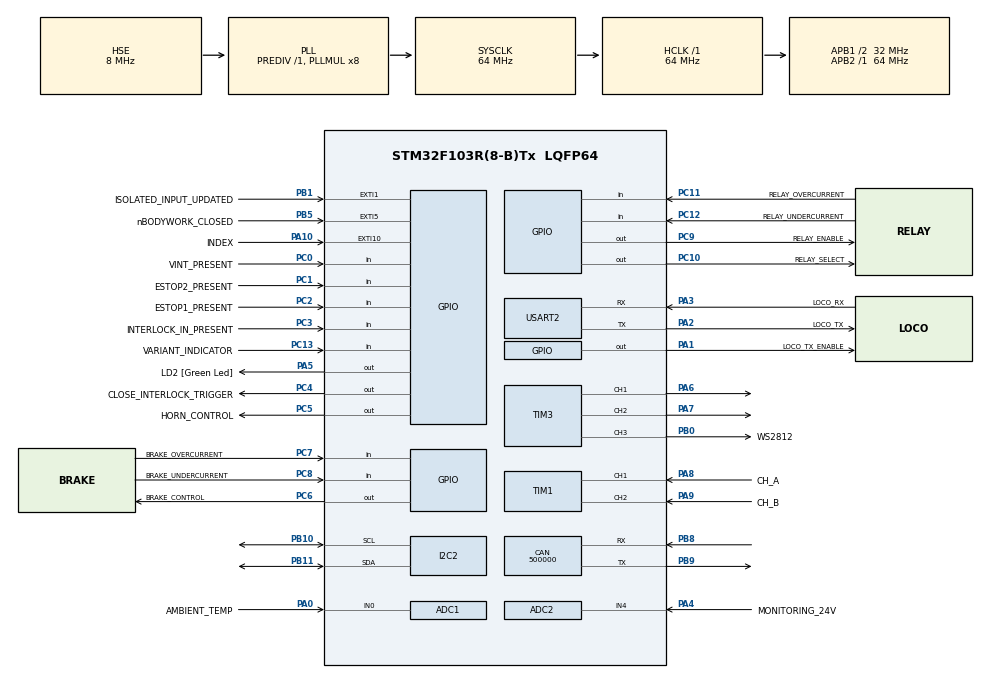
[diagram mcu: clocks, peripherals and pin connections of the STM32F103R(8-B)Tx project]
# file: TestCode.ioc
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ADC1.Channel-4\#ChannelRegularConversion=ADC_CHANNEL_0
ADC1.NbrOfConversionFlag=1
ADC1.Rank-4\#ChannelRegularConversion=1
ADC1.SamplingTime-4\#ChannelRegularConversion=ADC_SAMPLETIME_1CYCLE_5
ADC1.master=1
ADC2.Channel-1\#ChannelRegularConversion=ADC_CHANNEL_4
ADC2.NbrOfConversionFlag=1
ADC2.Rank-1\#ChannelRegularConversion=1
ADC2.SamplingTime-1\#ChannelRegularConversion=ADC_SAMPLETIME_1CYCLE_5
CAN.BS1=CAN_BS1_2TQ
CAN.CalculateBaudRate=500000
CAN.CalculateTimeBit=2000
CAN.CalculateTimeQuantum=500.0
CAN.Mode=CAN_MODE_LOOPBACK
Mcu.Family=STM32F1
Mcu.Name=STM32F103R(8-B)Tx
Mcu.Package=LQFP64
NVIC.CAN1_RX1_IRQn=true\:0\:0\:false\:false\:true\:true\:true\:true
NVIC.EXTI15_10_IRQn=true\:0\:0\:false\:false\:true\:true\:true\:true
NVIC.EXTI1_IRQn=true\:0\:0\:false\:false\:true\:true\:true\:true
NVIC.EXTI9_5_IRQn=true\:0\:0\:false\:false\:true\:true\:true\:true
NVIC.PriorityGroup=NVIC_PRIORITYGROUP_4
NVIC.TIM1_CC_IRQn=true\:0\:0\:false\:false\:true\:true\:true\:true
NVIC.USART2_IRQn=true\:0\:0\:false\:false\:true\:true\:true\:true
NVIC.USB_LP_CAN1_RX0_IRQn=true\:0\:0\:false\:false\:true\:true\:true\:true
PA0-WKUP.GPIO_Label=AMBIENT_TEMP
PA0-WKUP.Signal=ADCx_IN0
PA1.GPIO_Label=LOCO_TX_ENABLE
PA1.Signal=GPIO_Output
PA10.GPIO_Label=INDEX
PA10.Signal=GPXTI10
PA13.GPIO_Label=TMS
PA13.Mode=Serial_Wire
PA13.Signal=SYS_JTMS-SWDIO
PA14.GPIO_Label=TCK
PA14.Mode=Serial_Wire
PA14.Signal=SYS_JTCK-SWCLK
PA2.GPIO_Label=LOCO_TX
PA2.GPIO_Mode=GPIO_MODE_AF_PP
PA2.GPIO_PuPd=GPIO_NOPULL
PA2.GPIO_Speed=GPIO_SPEED_FREQ_LOW
PA2.Mode=Asynchronous
PA2.Signal=USART2_TX
PA3.GPIO_Label=LOCO_RX
PA3.GPIO_Mode=GPIO_MODE_AF_PP
PA3.GPIO_PuPd=GPIO_NOPULL
PA3.GPIO_Speed=GPIO_SPEED_FREQ_LOW
PA3.Mode=Asynchronous
PA3.Signal=USART2_RX
PA4.GPIO_Label=MONITORING_24V
PA4.Signal=ADCx_IN4
PA5.GPIO_Label=LD2 [Green Led]
PA5.GPIO_ModeDefaultOutputPP=GPIO_MODE_OUTPUT_PP
PA5.GPIO_PuPd=GPIO_NOPULL
PA5.GPIO_Speed=GPIO_SPEED_FREQ_LOW
PA5.Signal=GPIO_Output
PA6.Signal=S_TIM3_CH1
PA7.Signal=S_TIM3_CH2
PA8.GPIO_Label=CH_A
PA8.Signal=S_TIM1_CH1
PA9.GPIO_Label=CH_B
PA9.Signal=S_TIM1_CH2
PB0.GPIO_Label=WS2812
PB0.Signal=S_TIM3_CH3
PB1.GPIO_Label=ISOLATED_INPUT_UPDATED
PB1.Signal=GPXTI1
PB10.Mode=I2C
PB10.Signal=I2C2_SCL
PB11.Mode=I2C
PB11.Signal=I2C2_SDA
PB3.Signal=SYS_JTDO-TRACESWO
PB5.GPIO_Label=nBODYWORK_CLOSED
PB5.Signal=GPXTI5
PB8.Mode=CAN_Activate
PB8.Signal=CAN_RX
PB9.Mode=CAN_Activate
PB9.Signal=CAN_TX
PC0.GPIO_Label=VINT_PRESENT
PC0.Signal=GPIO_Input
PC1.GPIO_Label=ESTOP2_PRESENT
PC1.Signal=GPIO_Input
PC10.GPIO_Label=RELAY_SELECT
PC10.Signal=GPIO_Output
PC11.GPIO_Label=RELAY_OVERCURRENT
PC11.Signal=GPIO_Input
PC12.GPIO_Label=RELAY_UNDERCURRENT
PC12.Signal=GPIO_Input
PC13-TAMPER-RTC.GPIO_Label=VARIANT_INDICATOR
PC13-TAMPER-RTC.Signal=GPIO_Input
PC14-OSC32_IN.Signal=RCC_OSC32_IN
PC15-OSC32_OUT.Signal=RCC_OSC32_OUT
PC2.GPIO_Label=ESTOP1_PRESENT
PC2.Signal=GPIO_Input
PC3.GPIO_Label=INTERLOCK_IN_PRESENT
PC3.Signal=GPIO_Input
PC4.GPIO_Label=CLOSE_INTERLOCK_TRIGGER
PC4.Signal=GPIO_Output
PC5.GPIO_Label=HORN_CONTROL
PC5.Signal=GPIO_Output
PC6.GPIO_Label=BRAKE_CONTROL
PC6.Signal=GPIO_Output
PC7.GPIO_Label=BRAKE_OVERCURRENT
PC7.Signal=GPIO_Input
PC8.GPIO_Label=BRAKE_UNDERCURRENT
PC8.Signal=GPIO_Input
PC9.GPIO_Label=RELAY_ENABLE
PC9.Signal=GPIO_Output
PD0-OSC_IN.Mode=HSE-External-Oscillator
PD0-OSC_IN.Signal=RCC_OSC_IN
PD1-OSC_OUT.Mode=HSE-External-Oscillator
PD1-OSC_OUT.Signal=RCC_OSC_OUT
ProjectManager.HeapSize=0x200
ProjectManager.StackSize=0x400
ProjectManager.TargetToolchain=STM32CubeIDE
RCC.ADCPresc=RCC_ADCPCLK2_DIV6
RCC.AHBFreq_Value=64000000
RCC.APB1CLKDivider=RCC_HCLK_DIV2
RCC.APB1Freq_Value=32000000
RCC.APB1TimFreq_Value=64000000
RCC.APB2Freq_Value=64000000
RCC.APB2TimFreq_Value=64000000
RCC.HCLKFreq_Value=64000000
RCC.PLLMUL=RCC_PLL_MUL8
RCC.PLLSourceVirtual=RCC_PLLSOURCE_HSE
RCC.RTCClockSelection=RCC_RTCCLKSOURCE_LSE
RCC.SYSCLKFreq_VALUE=64000000
RCC.SYSCLKSource=RCC_SYSCLKSOURCE_PLLCLK
RCC.USBFreq_Value=64000000
SH.ADCx_IN0.0=ADC1_IN0,IN0
SH.ADCx_IN4.0=ADC1_IN4
SH.ADCx_IN4.1=ADC2_IN4,IN4
SH.S_TIM1_CH1.0=TIM1_CH1,Encoder_Interface
SH.S_TIM1_CH2.0=TIM1_CH2,Encoder_Interface
SH.S_TIM3_CH1.0=TIM3_CH1,PWM Generation1 CH1
SH.S_TIM3_CH2.0=TIM3_CH2,PWM Generation2 CH2
SH.S_TIM3_CH3.0=TIM3_CH3,PWM Generation3 CH3
TIM3.Channel-PWM\ Generation1\ CH1=TIM_CHANNEL_1
TIM3.Channel-PWM\ Generation2\ CH2=TIM_CHANNEL_2
TIM3.Channel-PWM\ Generation3\ CH3=TIM_CHANNEL_3
USART2.VirtualMode=VM_ASYNC
board=NUCLEO-F103RB

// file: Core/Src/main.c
/* USER CODE BEGIN Header */
/**
  ******************************************************************************
  * @file           : main.c
  * @brief          : Main program body
  ******************************************************************************
  * @attention
  *
  * <h2><center>&copy; Copyright (c) 2022 STMicroelectronics.
  * All rights reserved.</center></h2>
  *
  * This software component is licensed by ST under BSD 3-Clause license,
  * the "License"; You may not use this file except in compliance with the
  * License. You may obtain a copy of the License at:
  *                        opensource.org/licenses/BSD-3-Clause
  *
  ******************************************************************************
  */
/* USER CODE END Header */
#include "main.h"

/* USER CODE BEGIN Includes */

#include "mainboard.hpp"

/* USER CODE END Includes */

 ADC_HandleTypeDef hadc1;
ADC_HandleTypeDef hadc2;

CAN_HandleTypeDef hcan;

I2C_HandleTypeDef hi2c2;

TIM_HandleTypeDef htim1;
TIM_HandleTypeDef htim3;

UART_HandleTypeDef huart2;

void SystemClock_Config(void);
static void MX_GPIO_Init(void);
static void MX_USART2_UART_Init(void);
static void MX_CAN_Init(void);
static void MX_ADC1_Init(void);
static void MX_TIM1_Init(void);
static void MX_TIM3_Init(void);
static void MX_I2C2_Init(void);
static void MX_ADC2_Init(void);

/* USER CODE BEGIN 0 */

///////////////////////////////////////////////////////////////////////// CAN stuff
CAN_TxHeaderTypeDef TxHeader;
CAN_RxHeaderTypeDef RxHeader;
uint8_t TxData[8];
uint8_t RxData[8];
uint32_t TxMailbox;

int datacheck = 1;
int j = 0;

/*
void HAL_CAN_RxFifo1MsgPendingCallback(CAN_HandleTypeDef *hcan)
{
	HAL_CAN_GetRxMessage(hcan, CAN_RX_FIFO1, &RxHeader, RxData);
	if (RxHeader.DLC == 8)
	{
		datacheck = 1;
	}
}*/
/////////////////////////////////////////////////////////////////////////

///////////////////////////////////////////////////////////////////////// Encoder Position
uint16_t revolutions = 0;

uint32_t counter = 0;
int16_t count = 0;

int16_t position; // used in UserCode0 of stm32f1xx_it.c
float speed = 0;
float rpm = 0;

void HAL_TIM_IC_CaptureCallback(TIM_HandleTypeDef *htim)
{
	counter = __HAL_TIM_GET_COUNTER(htim);
	count = (int16_t)counter;
	position = count;
}

void HAL_GPIO_EXTI_Callback(uint16_t GPIO_PIN)
{
	if(GPIO_PIN == INDEX_Pin)
	{
		revolutions++;
	}
}

/////////////////////////////////////////////////////////////////////////

/* USER CODE END 0 */

int main(void)
{

  /* MCU Configuration--------------------------------------------------------*/

  /* Reset of all peripherals, Initializes the Flash interface and the Systick. */
+  HAL_Init();

  /* Configure the system clock */
  SystemClock_Config();

  /* Initialize all configured peripherals */
  MX_GPIO_Init();
  MX_USART2_UART_Init();
  MX_CAN_Init();
  MX_ADC1_Init();
  MX_TIM1_Init();
  MX_TIM3_Init();
  MX_I2C2_Init();
  MX_ADC2_Init();
  /* USER CODE BEGIN 2 */

  // Activate the encoder
  HAL_TIM_Encoder_Start_IT(&htim1, TIM_CHANNEL_ALL);

  init_modules(&huart2); // Start receiving
  //mainboard();

  /* USER CODE END 2 */

  /* Infinite loop */
  while (1)
  {

    /* USER CODE BEGIN 3 */

	  HAL_Delay(100);

	  // Testing <<<<<<<<<<<<<<<<<<<<<<<<<<<<<<<<<<<<<<<<<<<<<<<<<<<<<<<<<<<<<<<<<<<<<<<<<<<<<<<<<<<<<<<<<<<<<<<<<<<<<<<<<<<<<<<<<<<<<<<<<<<<<<<<<<<<<<<<<<<<<<
//	  uint8_t Test[] = "Error. Entered Main.c while(1) line 190\r\n"; //Data to send
//	  HAL_UART_Transmit(&huart2,Test,sizeof(Test),10);// Sending in normal mode
	  HAL_Delay(10);

	TxHeader.DLC = 8;  // data length
	TxHeader.IDE = CAN_ID_STD;
	TxHeader.RTR = CAN_RTR_DATA;
	TxHeader.StdId = 0x103;  // ID

	TxData[0] = 23;  // ms delay
	TxData[1] = 24;  // loop rep
	TxData[2] = 25;  // ms delay
	TxData[3] = 26;  // loop rep
	TxData[4] = 27;  // ms delay
	TxData[5] = 28;  // loop rep
	TxData[6] = 29;  // ms delay
	TxData[7] = 30;  // loop rep

	HAL_CAN_AddTxMessage(&hcan, &TxHeader, TxData, &TxMailbox);
	  //<<<<<<<<<<<<<<<<<<<<<<<<<<<<<<<<<<<<<<<<<<<<<<<<<<<<<<<<<<<<<<<<<<<<<<<<<<<<<<<<<<<<<<<<<<<<<<<<<<<<<<<<<<<<<<<<<<<<<<<<<<<<<<<<<<<<<<<<<<<<<<<<<<<<<<<

  }
  /* USER CODE END 3 */
}

void SystemClock_Config(void)
{
  RCC_OscInitTypeDef RCC_OscInitStruct = {0};
  RCC_ClkInitTypeDef RCC_ClkInitStruct = {0};
  RCC_PeriphCLKInitTypeDef PeriphClkInit = {0};

  /** Initializes the RCC Oscillators according to the specified parameters
  * in the RCC_OscInitTypeDef structure.
  */
  RCC_OscInitStruct.OscillatorType = RCC_OSCILLATORTYPE_HSE;
  RCC_OscInitStruct.HSEState = RCC_HSE_ON;
  RCC_OscInitStruct.HSEPredivValue = RCC_HSE_PREDIV_DIV1;
  RCC_OscInitStruct.HSIState = RCC_HSI_ON;
  RCC_OscInitStruct.PLL.PLLState = RCC_PLL_ON;
  RCC_OscInitStruct.PLL.PLLSource = RCC_PLLSOURCE_HSE;
  RCC_OscInitStruct.PLL.PLLMUL = RCC_PLL_MUL8;
  if (HAL_RCC_OscConfig(&RCC_OscInitStruct) != HAL_OK)
  {
    Error_Handler();
  }

  /** Initializes the CPU, AHB and APB buses clocks
  */
  RCC_ClkInitStruct.ClockType = RCC_CLOCKTYPE_HCLK|RCC_CLOCKTYPE_SYSCLK
                              |RCC_CLOCKTYPE_PCLK1|RCC_CLOCKTYPE_PCLK2;
  RCC_ClkInitStruct.SYSCLKSource = RCC_SYSCLKSOURCE_PLLCLK;
  RCC_ClkInitStruct.AHBCLKDivider = RCC_SYSCLK_DIV1;
  RCC_ClkInitStruct.APB1CLKDivider = RCC_HCLK_DIV2;
  RCC_ClkInitStruct.APB2CLKDivider = RCC_HCLK_DIV1;

  if (HAL_RCC_ClockConfig(&RCC_ClkInitStruct, FLASH_LATENCY_2) != HAL_OK)
  {
    Error_Handler();
  }
  PeriphClkInit.PeriphClockSelection = RCC_PERIPHCLK_ADC;
  PeriphClkInit.AdcClockSelection = RCC_ADCPCLK2_DIV6;
  if (HAL_RCCEx_PeriphCLKConfig(&PeriphClkInit) != HAL_OK)
  {
    Error_Handler();
  }
}

static void MX_ADC1_Init(void)
{

  ADC_ChannelConfTypeDef sConfig = {0};

  /** Common config
  */
  hadc1.Instance = ADC1;
  hadc1.Init.ScanConvMode = ADC_SCAN_DISABLE;
  hadc1.Init.ContinuousConvMode = DISABLE;
  hadc1.Init.DiscontinuousConvMode = DISABLE;
  hadc1.Init.ExternalTrigConv = ADC_SOFTWARE_START;
  hadc1.Init.DataAlign = ADC_DATAALIGN_RIGHT;
  hadc1.Init.NbrOfConversion = 1;
  if (HAL_ADC_Init(&hadc1) != HAL_OK)
  {
    Error_Handler();
  }

  /** Configure Regular Channel
  */
  sConfig.Channel = ADC_CHANNEL_0;
  sConfig.Rank = ADC_REGULAR_RANK_1;
  sConfig.SamplingTime = ADC_SAMPLETIME_1CYCLE_5;
  if (HAL_ADC_ConfigChannel(&hadc1, &sConfig) != HAL_OK)
  {
    Error_Handler();
  }

}

static void MX_ADC2_Init(void)
{

  ADC_ChannelConfTypeDef sConfig = {0};

  /** Common config
  */
  hadc2.Instance = ADC2;
  hadc2.Init.ScanConvMode = ADC_SCAN_DISABLE;
  hadc2.Init.ContinuousConvMode = DISABLE;
  hadc2.Init.DiscontinuousConvMode = DISABLE;
  hadc2.Init.ExternalTrigConv = ADC_SOFTWARE_START;
  hadc2.Init.DataAlign = ADC_DATAALIGN_RIGHT;
  hadc2.Init.NbrOfConversion = 1;
  if (HAL_ADC_Init(&hadc2) != HAL_OK)
  {
    Error_Handler();
  }

  /** Configure Regular Channel
  */
  sConfig.Channel = ADC_CHANNEL_4;
  sConfig.Rank = ADC_REGULAR_RANK_1;
  sConfig.SamplingTime = ADC_SAMPLETIME_1CYCLE_5;
  if (HAL_ADC_ConfigChannel(&hadc2, &sConfig) != HAL_OK)
  {
    Error_Handler();
  }

}

static void MX_CAN_Init(void)
{

  hcan.Instance = CAN1;
  hcan.Init.Prescaler = 16;
  hcan.Init.Mode = CAN_MODE_LOOPBACK;
  hcan.Init.SyncJumpWidth = CAN_SJW_1TQ;
  hcan.Init.TimeSeg1 = CAN_BS1_2TQ;
  hcan.Init.TimeSeg2 = CAN_BS2_1TQ;
  hcan.Init.TimeTriggeredMode = DISABLE;
  hcan.Init.AutoBusOff = DISABLE;
  hcan.Init.AutoWakeUp = DISABLE;
  hcan.Init.AutoRetransmission = DISABLE;
  hcan.Init.ReceiveFifoLocked = DISABLE;
  hcan.Init.TransmitFifoPriority = DISABLE;
  if (HAL_CAN_Init(&hcan) != HAL_OK)
  {
    Error_Handler();
  }
  /* USER CODE BEGIN CAN_Init 2 */

  CAN_FilterTypeDef canfilterconfig;

  canfilterconfig.FilterActivation = CAN_FILTER_ENABLE;
  canfilterconfig.FilterBank = 10;  // which filter bank to use from the assigned ones
  canfilterconfig.FilterFIFOAssignment = CAN_FILTER_FIFO1;
  canfilterconfig.FilterIdHigh = 0x103<<5;
  canfilterconfig.FilterIdLow = 0;
  canfilterconfig.FilterMaskIdHigh = 0x103<<5;
  canfilterconfig.FilterMaskIdLow = 0x0000;
  canfilterconfig.FilterMode = CAN_FILTERMODE_IDMASK;
  canfilterconfig.FilterScale = CAN_FILTERSCALE_32BIT;
  canfilterconfig.SlaveStartFilterBank = 0;  // doesn't matter in single can controllers

  HAL_CAN_ConfigFilter(&hcan, &canfilterconfig);

  /* USER CODE END CAN_Init 2 */

}

static void MX_I2C2_Init(void)
{

  hi2c2.Instance = I2C2;
  hi2c2.Init.ClockSpeed = 100000;
  hi2c2.Init.DutyCycle = I2C_DUTYCYCLE_2;
  hi2c2.Init.OwnAddress1 = 0;
  hi2c2.Init.AddressingMode = I2C_ADDRESSINGMODE_7BIT;
  hi2c2.Init.DualAddressMode = I2C_DUALADDRESS_DISABLE;
  hi2c2.Init.OwnAddress2 = 0;
  hi2c2.Init.GeneralCallMode = I2C_GENERALCALL_DISABLE;
  hi2c2.Init.NoStretchMode = I2C_NOSTRETCH_DISABLE;
  if (HAL_I2C_Init(&hi2c2) != HAL_OK)
  {
    Error_Handler();
  }

}

static void MX_TIM1_Init(void)
{

  TIM_Encoder_InitTypeDef sConfig = {0};
  TIM_MasterConfigTypeDef sMasterConfig = {0};

  htim1.Instance = TIM1;
  htim1.Init.Prescaler = 0;
  htim1.Init.CounterMode = TIM_COUNTERMODE_UP;
  htim1.Init.Period = 65535;
  htim1.Init.ClockDivision = TIM_CLOCKDIVISION_DIV1;
  htim1.Init.RepetitionCounter = 0;
  htim1.Init.AutoReloadPreload = TIM_AUTORELOAD_PRELOAD_DISABLE;
  sConfig.EncoderMode = TIM_ENCODERMODE_TI1;
  sConfig.IC1Polarity = TIM_ICPOLARITY_RISING;
  sConfig.IC1Selection = TIM_ICSELECTION_DIRECTTI;
  sConfig.IC1Prescaler = TIM_ICPSC_DIV1;
  sConfig.IC1Filter = 0;
  sConfig.IC2Polarity = TIM_ICPOLARITY_RISING;
  sConfig.IC2Selection = TIM_ICSELECTION_DIRECTTI;
  sConfig.IC2Prescaler = TIM_ICPSC_DIV1;
  sConfig.IC2Filter = 0;
  if (HAL_TIM_Encoder_Init(&htim1, &sConfig) != HAL_OK)
  {
    Error_Handler();
  }
  sMasterConfig.MasterOutputTrigger = TIM_TRGO_RESET;
  sMasterConfig.MasterSlaveMode = TIM_MASTERSLAVEMODE_DISABLE;
  if (HAL_TIMEx_MasterConfigSynchronization(&htim1, &sMasterConfig) != HAL_OK)
  {
    Error_Handler();
  }

}

static void MX_TIM3_Init(void)
{

  TIM_MasterConfigTypeDef sMasterConfig = {0};
  TIM_OC_InitTypeDef sConfigOC = {0};

  htim3.Instance = TIM3;
  htim3.Init.Prescaler = 0;
  htim3.Init.CounterMode = TIM_COUNTERMODE_UP;
  htim3.Init.Period = 65535;
  htim3.Init.ClockDivision = TIM_CLOCKDIVISION_DIV1;
  htim3.Init.AutoReloadPreload = TIM_AUTORELOAD_PRELOAD_DISABLE;
  if (HAL_TIM_PWM_Init(&htim3) != HAL_OK)
  {
    Error_Handler();
  }
  sMasterConfig.MasterOutputTrigger = TIM_TRGO_RESET;
  sMasterConfig.MasterSlaveMode = TIM_MASTERSLAVEMODE_DISABLE;
  if (HAL_TIMEx_MasterConfigSynchronization(&htim3, &sMasterConfig) != HAL_OK)
  {
    Error_Handler();
  }
  sConfigOC.OCMode = TIM_OCMODE_PWM1;
  sConfigOC.Pulse = 0;
  sConfigOC.OCPolarity = TIM_OCPOLARITY_HIGH;
  sConfigOC.OCFastMode = TIM_OCFAST_DISABLE;
  if (HAL_TIM_PWM_ConfigChannel(&htim3, &sConfigOC, TIM_CHANNEL_1) != HAL_OK)
  {
    Error_Handler();
  }
  if (HAL_TIM_PWM_ConfigChannel(&htim3, &sConfigOC, TIM_CHANNEL_2) != HAL_OK)
  {
    Error_Handler();
  }
  if (HAL_TIM_PWM_ConfigChannel(&htim3, &sConfigOC, TIM_CHANNEL_3) != HAL_OK)
  {
    Error_Handler();
  }
  HAL_TIM_MspPostInit(&htim3);

}

static void MX_USART2_UART_Init(void)
{

  huart2.Instance = USART2;
  huart2.Init.BaudRate = 115200;
  huart2.Init.WordLength = UART_WORDLENGTH_8B;
  huart2.Init.StopBits = UART_STOPBITS_1;
  huart2.Init.Parity = UART_PARITY_NONE;
  huart2.Init.Mode = UART_MODE_TX_RX;
  huart2.Init.HwFlowCtl = UART_HWCONTROL_NONE;
  huart2.Init.OverSampling = UART_OVERSAMPLING_16;
  if (HAL_UART_Init(&huart2) != HAL_OK)
  {
    Error_Handler();
  }

}

static void MX_GPIO_Init(void)
{
  GPIO_InitTypeDef GPIO_InitStruct = {0};

  /* GPIO Ports Clock Enable */
  __HAL_RCC_GPIOC_CLK_ENABLE();
  __HAL_RCC_GPIOD_CLK_ENABLE();
  __HAL_RCC_GPIOA_CLK_ENABLE();
  __HAL_RCC_GPIOB_CLK_ENABLE();

  /*Configure GPIO pin Output Level */
  HAL_GPIO_WritePin(GPIOA, LOCO_TX_ENABLE_Pin|LD2_Pin, GPIO_PIN_RESET);

  /*Configure GPIO pin Output Level */
  HAL_GPIO_WritePin(GPIOC, CLOSE_INTERLOCK_TRIGGER_Pin|HORN_CONTROL_Pin|BRAKE_CONTROL_Pin|RELAY_ENABLE_Pin
                          |RELAY_SELECT_Pin, GPIO_PIN_RESET);

  /*Configure GPIO pins : VARIANT_INDICATOR_Pin VINT_PRESENT_Pin ESTOP2_PRESENT_Pin ESTOP1_PRESENT_Pin
                           INTERLOCK_IN_PRESENT_Pin BRAKE_OVERCURRENT_Pin BRAKE_UNDERCURRENT_Pin RELAY_OVERCURRENT_Pin
                           RELAY_UNDERCURRENT_Pin */
  GPIO_InitStruct.Pin = VARIANT_INDICATOR_Pin|VINT_PRESENT_Pin|ESTOP2_PRESENT_Pin|ESTOP1_PRESENT_Pin
                          |INTERLOCK_IN_PRESENT_Pin|BRAKE_OVERCURRENT_Pin|BRAKE_UNDERCURRENT_Pin|RELAY_OVERCURRENT_Pin
                          |RELAY_UNDERCURRENT_Pin;
  GPIO_InitStruct.Mode = GPIO_MODE_INPUT;
  GPIO_InitStruct.Pull = GPIO_NOPULL;
  HAL_GPIO_Init(GPIOC, &GPIO_InitStruct);

  /*Configure GPIO pins : LOCO_TX_ENABLE_Pin LD2_Pin */
  GPIO_InitStruct.Pin = LOCO_TX_ENABLE_Pin|LD2_Pin;
  GPIO_InitStruct.Mode = GPIO_MODE_OUTPUT_PP;
  GPIO_InitStruct.Pull = GPIO_NOPULL;
  GPIO_InitStruct.Speed = GPIO_SPEED_FREQ_LOW;
  HAL_GPIO_Init(GPIOA, &GPIO_InitStruct);

  /*Configure GPIO pins : CLOSE_INTERLOCK_TRIGGER_Pin HORN_CONTROL_Pin BRAKE_CONTROL_Pin RELAY_ENABLE_Pin
                           RELAY_SELECT_Pin */
  GPIO_InitStruct.Pin = CLOSE_INTERLOCK_TRIGGER_Pin|HORN_CONTROL_Pin|BRAKE_CONTROL_Pin|RELAY_ENABLE_Pin
                          |RELAY_SELECT_Pin;
  GPIO_InitStruct.Mode = GPIO_MODE_OUTPUT_PP;
  GPIO_InitStruct.Pull = GPIO_NOPULL;
  GPIO_InitStruct.Speed = GPIO_SPEED_FREQ_LOW;
  HAL_GPIO_Init(GPIOC, &GPIO_InitStruct);

  /*Configure GPIO pins : ISOLATED_INPUT_UPDATED_Pin nBODYWORK_CLOSED_Pin */
  GPIO_InitStruct.Pin = ISOLATED_INPUT_UPDATED_Pin|nBODYWORK_CLOSED_Pin;
  GPIO_InitStruct.Mode = GPIO_MODE_IT_RISING;
  GPIO_InitStruct.Pull = GPIO_NOPULL;
  HAL_GPIO_Init(GPIOB, &GPIO_InitStruct);

  /*Configure GPIO pin : INDEX_Pin */
  GPIO_InitStruct.Pin = INDEX_Pin;
  GPIO_InitStruct.Mode = GPIO_MODE_IT_RISING;
  GPIO_InitStruct.Pull = GPIO_NOPULL;
  HAL_GPIO_Init(INDEX_GPIO_Port, &GPIO_InitStruct);

  /* EXTI interrupt init*/
  HAL_NVIC_SetPriority(EXTI1_IRQn, 0, 0);
  HAL_NVIC_EnableIRQ(EXTI1_IRQn);

  HAL_NVIC_SetPriority(EXTI9_5_IRQn, 0, 0);
  HAL_NVIC_EnableIRQ(EXTI9_5_IRQn);

  HAL_NVIC_SetPriority(EXTI15_10_IRQn, 0, 0);
  HAL_NVIC_EnableIRQ(EXTI15_10_IRQn);

}

void Error_Handler(void)
{
  __disable_irq();
  while (1)
  {
  }
}
